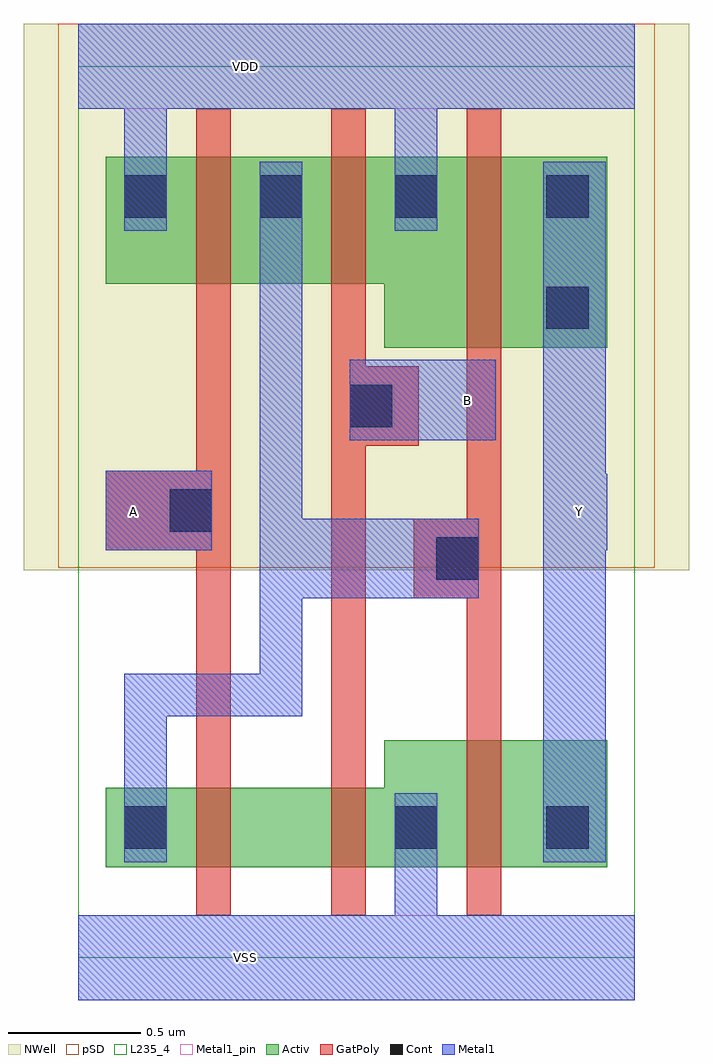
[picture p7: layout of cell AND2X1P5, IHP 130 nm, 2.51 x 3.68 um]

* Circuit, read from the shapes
.subckt AND2X1P5 A B VDD VSS Y
XM1 n1 A n2 VSUBS sg13_lv_nmos w=0.3u l=0.13u
XM2 VSS B n1 VSUBS sg13_lv_nmos w=0.3u l=0.13u
XM3 Y n2 VSS VSUBS sg13_lv_nmos w=0.48u l=0.13u
XM4 n2 A VDD n3 sg13_lv_pmos w=0.48u l=0.13u
XM5 VDD B n2 n3 sg13_lv_pmos w=0.48u l=0.13u
XM6 Y n2 VDD n3 sg13_lv_pmos w=0.72u l=0.13u
.ends

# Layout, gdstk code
import gdstk
lib = gdstk.Library(unit=1e-6, precision=1e-09)
def R(c, l, rs):  # rectangles x0, y0, x1, y1
    for r in rs: c.add(gdstk.rectangle(r[:2], r[2:], *l))
def A(c, l, x, y, w, h, nx, ny, dx, dy):  # array of equal rectangles
    R(c, l, [(x+i*dx, y+j*dy, x+i*dx+w, y+j*dy+h) for i in range(nx) for j in range(ny)])
def P(c, l, *ps):  # polygons
    for p in ps: c.add(gdstk.Polygon(p, *l))
Activ = (1, 0)
GatPoly = (5, 0)
Cont = (6, 0)
Metal1 = (8, 0)
Metal1_pin = (8, 2)
pSD = (14, 0)
NWell = (31, 0)
L235_4 = (235, 4)

and2x1p5 = lib.new_cell('AND2X1P5')
P(and2x1p5, Activ, [(1.995,0.82),(1.155,0.82),(1.155,0.64),(0.105,0.64),(0.105,0.34),(1.995,0.34)],
  [(1.995,3.02),(0.105,3.02),(0.105,2.54),(1.155,2.54),(1.155,2.3),(1.995,2.3)])
A(and2x1p5, GatPoly, 0.445, 0.16, 0.13, 3.04, 3, 1, 0.51, 0)
R(and2x1p5, GatPoly, [(1.265,1.355,1.465,1.655), (0.105,1.535,0.445,1.835), (1.085,1.93,1.285,2.23)])
A(and2x1p5, Cont, 0.175, 2.79, 0.16, 0.16, 3, 1, 0.51, 0)
R(and2x1p5, Cont, [(0.175,0.41,0.335,0.57), (1.195,0.41,1.355,0.57), (1.765,0.41,1.925,0.57), (1.35,1.425,1.51,1.585), (0.345,1.605,0.505,1.765), (1.025,2,1.185,2.16), (1.765,2.37,1.925,2.53), (1.765,2.79,1.925,2.95)])
R(and2x1p5, Metal1, [(0,-0.16,2.1,0.16), (1.195,0.16,1.355,0.62), (0.175,0.36,0.335,1.07), (0.175,0.91,0.845,1.07), (0.685,0.91,0.845,3), (0.685,1.355,1.51,1.655), (0.105,1.535,0.505,1.835), (1.025,1.95,1.575,2.255), (0.175,2.74,0.335,3.2), (1.195,2.74,1.355,3.2), (0,3.2,2.1,3.52)])
P(and2x1p5, Metal1, [(1.995,1.825),(1.99,1.825),(1.99,3),(1.755,3),(1.755,0.36),(1.99,0.36),(1.99,1.535),(1.995,1.535)])
R(and2x1p5, Metal1_pin, [(0,-0.16,2.1,0.16), (0.105,1.535,0.505,1.835), (1.025,1.95,1.575,2.255), (0,3.2,2.1,3.52)])
P(and2x1p5, Metal1_pin, [(1.995,1.825),(1.99,1.825),(1.99,3),(1.755,3),(1.755,0.36),(1.99,0.36),(1.99,1.535),(1.995,1.535)])
R(and2x1p5, pSD, [(-0.075,1.47,2.175,3.52)])
R(and2x1p5, NWell, [(-0.205,1.46,2.305,3.52)])
R(and2x1p5, L235_4, [(0,0,2.1,3.36)])
and2x1p5.add(gdstk.Label('Y', (1.89,1.68), layer=8, texttype=25))
and2x1p5.add(gdstk.Label('B', (1.47,2.1), layer=8, texttype=25))
and2x1p5.add(gdstk.Label('A', (0.21,1.68), layer=8, texttype=25))
and2x1p5.add(gdstk.Label('VDD', (0.63,3.36), layer=8, texttype=25))
and2x1p5.add(gdstk.Label('VSS', (0.63,0), layer=8, texttype=25))

lib.write_gds('AND2X1P5.gds')
